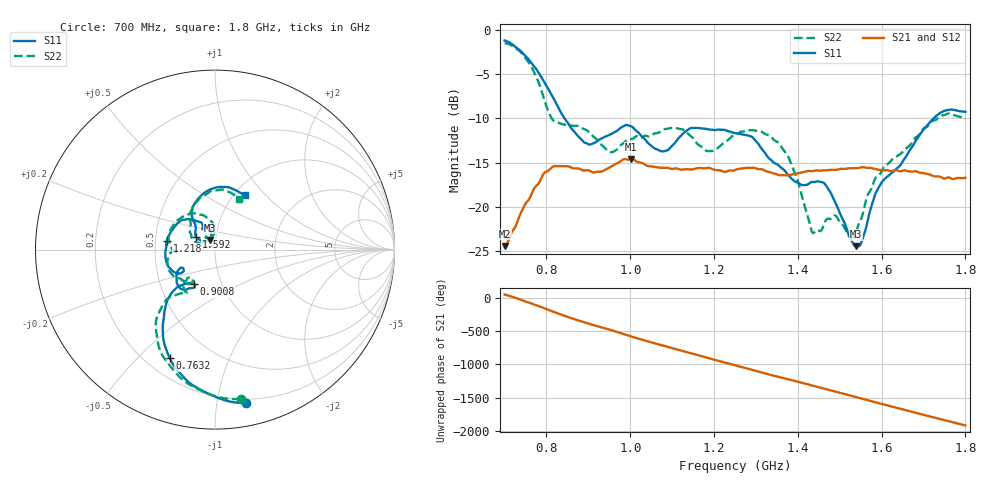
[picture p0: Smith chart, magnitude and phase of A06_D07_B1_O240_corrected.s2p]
! Created with skrf 1.9.0 (http://scikit-rf.org).
# Hz S RI R 50.0
!freq ReS11 ImS11 ReS21 ImS21 ReS12 ImS12 ReS22 ImS22
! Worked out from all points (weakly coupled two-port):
!   1601 points, 700 MHz to 1.8 GHz, reference 50 ohm
!   highest |S21| = -14.58 dB at 1.002 GHz (marker M1); lowest = -24.4 dB at 701.4 MHz (marker M2)
!   lowest |S11| = -24.5 dB at 1.538 GHz (marker M3), VSWR 1.13, Z = 47.2 + j5.12 ohm
!   |S11| at or under -10 dB: 842.9 MHz to 1.724 GHz (881.1 MHz wide, 68.6 % of centre)
!   |S22| runs from -23.5 to -1.5 dB; largest |S21 - S12| = 0.0037
!   S11 on the Smith chart (normalised r, x): 700 MHz: 0.17, -1.21; 763.2 MHz: 0.30, -0.62; 900.8 MHz: 0.74, -0.30; 1.218 GHz: 0.57, +0.06; 1.592 GHz: 0.80, +0.12; 1.8 GHz: 1.12, +0.77
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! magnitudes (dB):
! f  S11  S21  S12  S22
! 700 MHz  -1.2  -24.4  -24.2  -1.5
! 701.4 MHz  -1.2  -24.4  -24.0  -1.5
! 763.2 MHz  -3.7  -18.7  -18.7  -4.1
! 814.8 MHz  -7.6  -15.5  -15.5  -10.2
! 883.6 MHz  -12.4  -15.8  -15.7  -11.1
! 900.8 MHz  -12.9  -15.9  -15.9  -11.5
! 953 MHz  -11.8  -15.5  -15.5  -13.8
! 1.002 GHz  -10.9  -14.6  -14.7  -12.3
! 1.067 GHz  -13.6  -15.6  -15.5  -11.6
! 1.144 GHz  -11.1  -15.8  -15.8  -12.0
! 1.218 GHz  -11.3  -15.9  -16.0  -13.0
! 1.25 GHz  -11.7  -15.8  -15.8  -11.9
! 1.356 GHz  -15.4  -16.4  -16.4  -12.9
! 1.394 GHz  -17.2  -16.3  -16.3  -16.3
! 1.434 GHz  -17.2  -16.0  -15.9  -22.8
! 1.469 GHz  -17.7  -15.9  -15.9  -21.4
! 1.538 GHz  -24.5  -15.6  -15.6  -23.0
! 1.552 GHz  -23.9  -15.5  -15.6  -21.2
! 1.592 GHz  -17.8  -15.8  -15.8  -16.5
! 1.617 GHz  -16.4  -15.9  -15.9  -15.1
! 1.731 GHz  -9.7  -16.6  -16.6  -10.1
! 1.8 GHz  -9.3  -16.7  -16.7  -10.0
